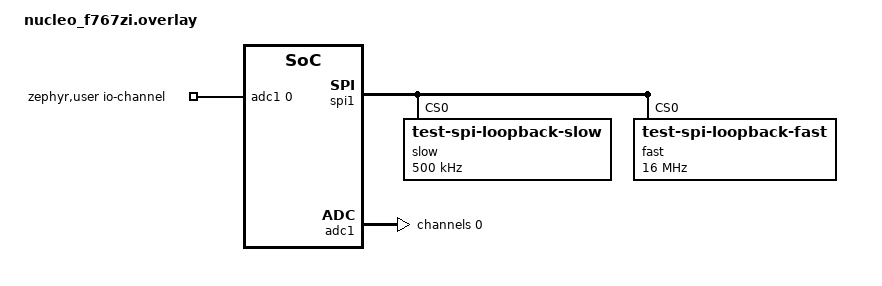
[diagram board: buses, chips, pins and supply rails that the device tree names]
/*
 * Copyright (c) 2020 Erwin Rol <erwin@erwinrol.com>
 *
 * SPDX-License-Identifier: Apache-2.0
 */

&dma1 {
	status = "okay";
};

tst_dma0: &dma2 {
	status = "okay";
};

/* The test driver expects the SRAM0 region to be non-cachable */
&sram0 {
	zephyr,memory-attr = <DT_MEM_ARM(ATTR_MPU_RAM_NOCACHE)>;
};

&spi1 {
	dmas = <&dma2 5 3 0x28440 0x03>,
	       <&dma2 2 3 0x28480 0x03>;
	dma-names = "tx", "rx";
	slow@0 {
		compatible = "test-spi-loopback-slow";
		reg = <0>;
		spi-max-frequency = <500000>;
	};
	fast@0 {
		compatible = "test-spi-loopback-fast";
		reg = <0>;
		spi-max-frequency = <16000000>;
	};
};

&dma2 {
	status = "okay";
};

/ {
	zephyr,user {
		io-channels = <&adc1 0>;
	};
};

&adc1 {
	#address-cells = <1>;
	#size-cells = <0>;
	channel@0 {
		reg = <0>;
		zephyr,gain = "ADC_GAIN_1";
		zephyr,reference = "ADC_REF_INTERNAL";
		zephyr,acquisition-time = <ADC_ACQ_TIME_DEFAULT>;
		zephyr,resolution = <12>;
	};
};

dut: &usart6 {
	dmas = <&dma2 7 5 0x28440 0x03>,
	       <&dma2 2 5 0x28480 0x03>;
	dma-names = "tx", "rx";
};
